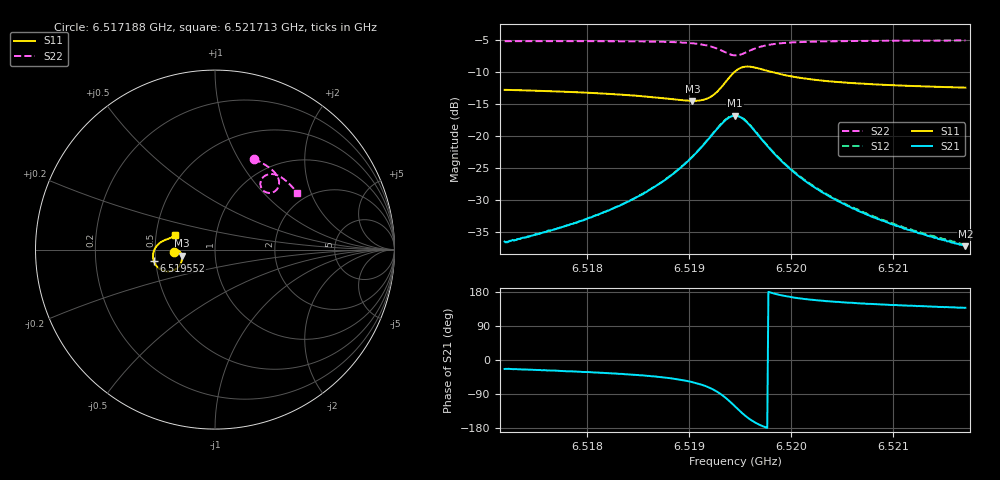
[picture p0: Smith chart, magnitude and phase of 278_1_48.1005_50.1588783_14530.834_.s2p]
#  HZ  S  RI  R  50.00
! Rohde & Schwarz Vector Network Analyzer
! Rohde-Schwarz,ZNB20-2Port,1311601062101988,3.16
! Created: UTC 12/23/2023, 4:02:28 AM
! freq[Hz]  re:S11  im:S11  re:S21  im:S21  re:S12  im:S12  re:S22  im:S22
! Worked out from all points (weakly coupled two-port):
!   401 points, 6.517188 GHz to 6.521713 GHz, reference 50 ohm
!   highest |S21| = -16.83 dB at 6.51945 GHz (marker M1); lowest = -37.2 dB at 6.521713 GHz (marker M2)
!   lowest |S11| = -14.5 dB at 6.519032 GHz (marker M3), VSWR 1.46, Z = 34.3 - j2.37 ohm
!   |S11| at or under -10 dB: start of sweep to 6.519446 GHz; 6.519807 GHz to end of sweep
!   |S22| runs from -7.4 to -5.1 dB; largest |S21 - S12| = 0.0044
!   S11 on the Smith chart (normalised r, x): 6.517188 GHz: 0.63, -0.02; 6.519552 GHz: 0.49, -0.07; 6.521713 GHz: 0.63, +0.11
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6.5171881e9  -0.2289 -0.0132  0.0138 -0.00606  0.0137 -0.00541  0.2165 0.5041
6.5175274e9  -0.225 -0.00842  0.0154 -0.00773  0.0158 -0.00728  0.2415 0.4929
6.517946e9  -0.2187 -0.00405  0.0187 -0.0115  0.0192 -0.0108  0.2723 0.4765
6.5183871e9  -0.2091 -0.00282  0.0241 -0.0187  0.0249 -0.018  0.3056 0.4545
6.5187039e9  -0.1987 -0.00826  0.03 -0.0297  0.0311 -0.0289  0.3303 0.4321
6.5188735e9  -0.1916 -0.0169  0.034 -0.0409  0.0353 -0.04  0.3434 0.4151
6.5190319e9  -0.1852 -0.0333  0.036 -0.0587  0.0382 -0.058  0.3542 0.3924
6.5191337e9  -0.184 -0.0521  0.0339 -0.0769  0.0365 -0.0764  0.3571 0.372
6.5192242e9  -0.1905 -0.0764  0.0243 -0.0991  0.0275 -0.0991  0.3527 0.3489
6.5192808e9  -0.2026 -0.095  0.0107 -0.1147  0.0142 -0.1155  0.3428 0.3332
6.51936e9  -0.2374 -0.1176  -0.0236 -0.1317  -0.0199 -0.1334  0.3157 0.317
6.5194504e9  -0.2977 -0.1135  -0.0773 -0.1216  -0.0745 -0.1248  0.2738 0.3254
6.5194957e9  -0.3237 -0.0939  -0.0983 -0.1017  -0.0963 -0.1054  0.259 0.3425
6.5195523e9  -0.342 -0.061  -0.1108 -0.071  -0.1097 -0.0749  0.2531 0.3682
6.5196654e9  -0.3393 -0.00429  -0.1021 -0.0225  -0.1024 -0.0258  0.2705 0.4053
6.5197785e9  -0.3195 0.0263  -0.0819 0.000239  -0.0827 -0.00205  0.2964 0.4193
6.5199821e9  -0.2899 0.048  -0.0548 0.0131  -0.0557 0.0114  0.3327 0.4186
6.5202083e9  -0.2703 0.0566  -0.0381 0.0147  -0.0391 0.014  0.3598 0.4081
6.5205703e9  -0.252 0.0634  -0.0248 0.0136  -0.0255 0.0131  0.3906 0.3873
6.5209662e9  -0.24 0.069  -0.0172 0.0119  -0.0179 0.0116  0.4166 0.3637
6.5213282e9  -0.232 0.074  -0.0133 0.0104  -0.0137 0.0103  0.437 0.3417
6.5217128e9  -0.2251 0.0792  -0.0103 0.00933  -0.0108 0.00928  0.4562 0.3178
